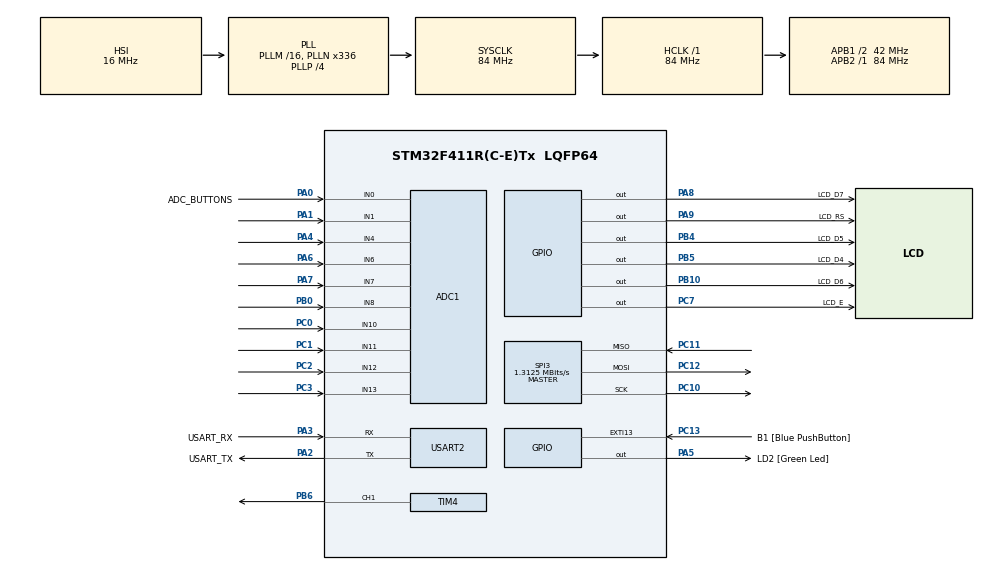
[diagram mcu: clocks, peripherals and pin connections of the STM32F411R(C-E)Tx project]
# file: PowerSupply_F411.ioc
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ADC1.Channel-1\#ChannelRegularConversion=ADC_CHANNEL_0
ADC1.Channel-2\#ChannelRegularConversion=ADC_CHANNEL_1
ADC1.Channel-3\#ChannelRegularConversion=ADC_CHANNEL_4
ADC1.Channel-4\#ChannelRegularConversion=ADC_CHANNEL_6
ADC1.Channel-5\#ChannelRegularConversion=ADC_CHANNEL_7
ADC1.Channel-6\#ChannelRegularConversion=ADC_CHANNEL_8
ADC1.EOCSelection=ADC_EOC_SEQ_CONV
ADC1.NbrOfConversion=6
ADC1.NbrOfConversionFlag=1
ADC1.Rank-1\#ChannelRegularConversion=1
ADC1.Rank-2\#ChannelRegularConversion=2
ADC1.Rank-3\#ChannelRegularConversion=3
ADC1.Rank-4\#ChannelRegularConversion=4
ADC1.Rank-5\#ChannelRegularConversion=5
ADC1.Rank-6\#ChannelRegularConversion=6
ADC1.SamplingTime-1\#ChannelRegularConversion=ADC_SAMPLETIME_28CYCLES
ADC1.SamplingTime-2\#ChannelRegularConversion=ADC_SAMPLETIME_28CYCLES
ADC1.SamplingTime-3\#ChannelRegularConversion=ADC_SAMPLETIME_28CYCLES
ADC1.SamplingTime-4\#ChannelRegularConversion=ADC_SAMPLETIME_28CYCLES
ADC1.SamplingTime-5\#ChannelRegularConversion=ADC_SAMPLETIME_28CYCLES
ADC1.SamplingTime-6\#ChannelRegularConversion=ADC_SAMPLETIME_28CYCLES
ADC1.master=1
Dma.ADC1.0.Direction=DMA_PERIPH_TO_MEMORY
Dma.ADC1.0.FIFOMode=DMA_FIFOMODE_DISABLE
Dma.ADC1.0.Instance=DMA2_Stream0
Dma.ADC1.0.MemDataAlignment=DMA_MDATAALIGN_HALFWORD
Dma.ADC1.0.MemInc=DMA_MINC_ENABLE
Dma.ADC1.0.Mode=DMA_CIRCULAR
Dma.ADC1.0.PeriphDataAlignment=DMA_PDATAALIGN_HALFWORD
Dma.ADC1.0.PeriphInc=DMA_PINC_DISABLE
Dma.ADC1.0.Priority=DMA_PRIORITY_LOW
Dma.Request0=ADC1
Mcu.Family=STM32F4
Mcu.Name=STM32F411R(C-E)Tx
Mcu.Package=LQFP64
NVIC.DMA2_Stream0_IRQn=true\:0\:0\:false\:false\:true\:false\:true\:true
NVIC.PriorityGroup=NVIC_PRIORITYGROUP_0
PA0-WKUP.GPIO_Label=ADC_BUTTONS
PA0-WKUP.Signal=ADCx_IN0
PA1.Signal=ADCx_IN1
PA13.GPIO_Label=TMS
PA13.Mode=Serial_Wire
PA13.Signal=SYS_JTMS-SWDIO
PA14.GPIO_Label=TCK
PA14.Mode=Serial_Wire
PA14.Signal=SYS_JTCK-SWCLK
PA2.GPIO_Label=USART_TX
PA2.Mode=Asynchronous
PA2.Signal=USART2_TX
PA3.GPIO_Label=USART_RX
PA3.Mode=Asynchronous
PA3.Signal=USART2_RX
PA4.Signal=ADCx_IN4
PA5.GPIO_Label=LD2 [Green Led]
PA5.Signal=GPIO_Output
PA6.Signal=ADCx_IN6
PA7.Signal=ADCx_IN7
PA8.GPIO_Label=LCD_D7
PA8.Signal=GPIO_Output
PA9.GPIO_Label=LCD_RS
PA9.Signal=GPIO_Output
PB0.Signal=ADCx_IN8
PB10.GPIO_Label=LCD_D6
PB10.Signal=GPIO_Output
PB3.GPIO_Label=SWO
PB3.Signal=SYS_JTDO-SWO
PB4.GPIO_Label=LCD_D5
PB4.Signal=GPIO_Output
PB5.GPIO_Label=LCD_D4
PB5.Signal=GPIO_Output
PB6.GPIO_Speed=GPIO_SPEED_FREQ_HIGH
PB6.Signal=S_TIM4_CH1
PC0.Signal=ADCx_IN10
PC1.Signal=ADCx_IN11
PC10.Mode=Full_Duplex_Master
PC10.Signal=SPI3_SCK
PC11.Mode=Full_Duplex_Master
PC11.Signal=SPI3_MISO
PC12.Mode=Full_Duplex_Master
PC12.Signal=SPI3_MOSI
PC13-ANTI_TAMP.GPIO_Label=B1 [Blue PushButton]
PC13-ANTI_TAMP.GPIO_ModeDefaultEXTI=GPIO_MODE_IT_FALLING
PC13-ANTI_TAMP.Signal=GPXTI13
PC14-OSC32_IN.Mode=LSE-External-Oscillator
PC14-OSC32_IN.Signal=RCC_OSC32_IN
PC15-OSC32_OUT.Mode=LSE-External-Oscillator
PC15-OSC32_OUT.Signal=RCC_OSC32_OUT
PC2.Signal=ADCx_IN12
PC3.Signal=ADCx_IN13
PC7.GPIO_Label=LCD_E
PC7.Signal=GPIO_Output
PH0\ -\ OSC_IN.Mode=HSE-External-Clock-Source
PH0\ -\ OSC_IN.Signal=RCC_OSC_IN
PH1\ -\ OSC_OUT.Mode=HSE-External-Clock-Source
PH1\ -\ OSC_OUT.Signal=RCC_OSC_OUT
ProjectManager.HeapSize=0x200
ProjectManager.StackSize=0x400
ProjectManager.TargetToolchain=STM32CubeIDE
RCC.48MHZClocksFreq_Value=84000000
RCC.AHBFreq_Value=84000000
RCC.APB1CLKDivider=RCC_HCLK_DIV2
RCC.APB1Freq_Value=42000000
RCC.APB1TimFreq_Value=84000000
RCC.APB2Freq_Value=84000000
RCC.APB2TimFreq_Value=84000000
RCC.CortexFreq_Value=84000000
RCC.FLatency-AdvancedSettings=FLASH_LATENCY_2
RCC.HCLKFreq_Value=84000000
RCC.HSE_VALUE=8000000
RCC.HSI_VALUE=16000000
RCC.PLLN=336
RCC.PLLP=RCC_PLLP_DIV4
RCC.SYSCLKFreq_VALUE=84000000
RCC.SYSCLKSource=RCC_SYSCLKSOURCE_PLLCLK
RCC.VCOOutputFreq_Value=336000000
SH.ADCx_IN0.0=ADC1_IN0,IN0
SH.ADCx_IN1.0=ADC1_IN1,IN1
SH.ADCx_IN10.0=ADC1_IN10,IN10
SH.ADCx_IN11.0=ADC1_IN11,IN11
SH.ADCx_IN12.0=ADC1_IN12,IN12
SH.ADCx_IN13.0=ADC1_IN13,IN13
SH.ADCx_IN4.0=ADC1_IN4,IN4
SH.ADCx_IN6.0=ADC1_IN6,IN6
SH.ADCx_IN7.0=ADC1_IN7,IN7
SH.ADCx_IN8.0=ADC1_IN8,IN8
SH.S_TIM4_CH1.0=TIM4_CH1,PWM Generation1 CH1
SPI3.BaudRatePrescaler=SPI_BAUDRATEPRESCALER_32
SPI3.CalculateBaudRate=1.3125 MBits/s
SPI3.Direction=SPI_DIRECTION_2LINES
SPI3.Mode=SPI_MODE_MASTER
SPI3.VirtualType=VM_MASTER
TIM4.AutoReloadPreload=TIM_AUTORELOAD_PRELOAD_DISABLE
TIM4.Channel-PWM\ Generation1\ CH1=TIM_CHANNEL_1
TIM4.OCFastMode_PWM-PWM\ Generation1\ CH1=TIM_OCFAST_DISABLE
TIM4.Period=999
TIM4.Prescaler=84
TIM4.Pulse-PWM\ Generation1\ CH1=600
TIM4.TIM_MasterOutputTrigger=TIM_TRGO_UPDATE
USART2.VirtualMode=VM_ASYNC
VP_TIM4_VS_ClockSourceINT.Mode=Internal
board=NUCLEO-F411RE

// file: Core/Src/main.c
/* USER CODE BEGIN Header */
/**
  ******************************************************************************
  * @file           : main.c
  * @brief          : Main program body
  ******************************************************************************
  * @attention
  *
  * Copyright (c) 2022 STMicroelectronics.
  * All rights reserved.
  *
  * This software is licensed under terms that can be found in the LICENSE file
  * in the root directory of this software component.
  * If no LICENSE file comes with this software, it is provided AS-IS.
  *
  ******************************************************************************
  */
/* USER CODE END Header */
#include "main.h"

/* USER CODE BEGIN Includes */
#include "lcd_6pin.h"
/* USER CODE END Includes */

 ADC_HandleTypeDef hadc1;
DMA_HandleTypeDef hdma_adc1;

SPI_HandleTypeDef hspi3;

TIM_HandleTypeDef htim4;

UART_HandleTypeDef huart2;

/* USER CODE BEGIN PV */
volatile uint16_t ADC_RawData[6u] = {0u};
float ADC_Voltage[6u];
/* USER CODE END PV */

void SystemClock_Config(void);
static void MX_GPIO_Init(void);
static void MX_USART2_UART_Init(void);
static void MX_ADC1_Init(void);
static void MX_DMA_Init(void);
static void MX_TIM4_Init(void);
static void MX_SPI3_Init(void);

/* USER CODE BEGIN 0 */
volatile uint16_t ADC_RawData[6u] = {0u};
float ADC_Voltage[6u];
/* USER CODE END 0 */

int main(void)
{
  /* USER CODE BEGIN 1 */
  uint16_t pulse_width = 0u;
  /* USER CODE END 1 */

  /* MCU Configuration--------------------------------------------------------*/

  /* Reset of all peripherals, Initializes the Flash interface and the Systick. */
  HAL_Init();

  /* Configure the system clock */
  SystemClock_Config();

  /* USER CODE BEGIN SysInit */
  MX_DMA_Init();
  /* USER CODE END SysInit */

  /* Initialize all configured peripherals */
  MX_GPIO_Init();
  MX_USART2_UART_Init();
  MX_ADC1_Init();
  MX_DMA_Init();
  MX_TIM4_Init();
  MX_SPI3_Init();
  /* USER CODE BEGIN 2 */
  // Start PWM
  HAL_TIM_PWM_Start(&htim4, TIM_CHANNEL_1);
  HAL_TIM_PWM_Start(&htim4, TIM_CHANNEL_3);
  __HAL_TIM_SET_COMPARE(&htim4, TIM_CHANNEL_3, 500u);
  // Init LCD
  LcdInit(LCD_DISP_ON_CURSOR_BLINK);
  LcdPuts("Hello_NucleoF411", 0, 0);

  /* USER CODE END 2 */

  /* Infinite loop */
  while (1)
  {

    /* USER CODE BEGIN 3 */
    HAL_Delay(300u);
    // Convert ADC raw data from last running
    for( uint16_t i = 0u; i < 6u; i++ )
    {
      ADC_Voltage[i] = (float)ADC_RawData[i] * 3.3f / 4096.0f;
    }
    HAL_ADC_Start_DMA(&hadc1, (uint32_t*)&ADC_RawData[0u], 6u);
#if 0
    // Set PWM duty cycle for display backlight
	__HAL_TIM_SET_COMPARE(&htim4, TIM_CHANNEL_1, pulse_width);
	if(988 > pulse_width)
	{
	  pulse_width += 10u;
	}
	else
	{
	  pulse_width = 0u;
	}
#endif
  }
  /* USER CODE END 3 */
}

void SystemClock_Config(void)
{
  RCC_OscInitTypeDef RCC_OscInitStruct = {0};
  RCC_ClkInitTypeDef RCC_ClkInitStruct = {0};

  /** Configure the main internal regulator output voltage
  */
  __HAL_RCC_PWR_CLK_ENABLE();
  __HAL_PWR_VOLTAGESCALING_CONFIG(PWR_REGULATOR_VOLTAGE_SCALE1);

  /** Initializes the RCC Oscillators according to the specified parameters
  * in the RCC_OscInitTypeDef structure.
  */
  RCC_OscInitStruct.OscillatorType = RCC_OSCILLATORTYPE_HSI;
  RCC_OscInitStruct.HSIState = RCC_HSI_ON;
  RCC_OscInitStruct.HSICalibrationValue = RCC_HSICALIBRATION_DEFAULT;
  RCC_OscInitStruct.PLL.PLLState = RCC_PLL_ON;
  RCC_OscInitStruct.PLL.PLLSource = RCC_PLLSOURCE_HSI;
  RCC_OscInitStruct.PLL.PLLM = 16;
  RCC_OscInitStruct.PLL.PLLN = 336;
  RCC_OscInitStruct.PLL.PLLP = RCC_PLLP_DIV4;
  RCC_OscInitStruct.PLL.PLLQ = 4;
  if (HAL_RCC_OscConfig(&RCC_OscInitStruct) != HAL_OK)
  {
    Error_Handler();
  }

  /** Initializes the CPU, AHB and APB buses clocks
  */
  RCC_ClkInitStruct.ClockType = RCC_CLOCKTYPE_HCLK|RCC_CLOCKTYPE_SYSCLK
                              |RCC_CLOCKTYPE_PCLK1|RCC_CLOCKTYPE_PCLK2;
  RCC_ClkInitStruct.SYSCLKSource = RCC_SYSCLKSOURCE_PLLCLK;
  RCC_ClkInitStruct.AHBCLKDivider = RCC_SYSCLK_DIV1;
  RCC_ClkInitStruct.APB1CLKDivider = RCC_HCLK_DIV2;
  RCC_ClkInitStruct.APB2CLKDivider = RCC_HCLK_DIV1;

  if (HAL_RCC_ClockConfig(&RCC_ClkInitStruct, FLASH_LATENCY_2) != HAL_OK)
  {
    Error_Handler();
  }
}

static void MX_ADC1_Init(void)
{

  ADC_ChannelConfTypeDef sConfig = {0};

  /** Configure the global features of the ADC (Clock, Resolution, Data Alignment and number of conversion)
  */
  hadc1.Instance = ADC1;
  hadc1.Init.ClockPrescaler = ADC_CLOCK_SYNC_PCLK_DIV4;
  hadc1.Init.Resolution = ADC_RESOLUTION_12B;
  hadc1.Init.ScanConvMode = ENABLE;
  hadc1.Init.ContinuousConvMode = DISABLE;
  hadc1.Init.DiscontinuousConvMode = DISABLE;
  hadc1.Init.ExternalTrigConvEdge = ADC_EXTERNALTRIGCONVEDGE_NONE;
  hadc1.Init.ExternalTrigConv = ADC_SOFTWARE_START;
  hadc1.Init.DataAlign = ADC_DATAALIGN_RIGHT;
  hadc1.Init.NbrOfConversion = 6;
  hadc1.Init.DMAContinuousRequests = DISABLE;
  hadc1.Init.EOCSelection = ADC_EOC_SEQ_CONV;
  if (HAL_ADC_Init(&hadc1) != HAL_OK)
  {
    Error_Handler();
  }

  /** Configure for the selected ADC regular channel its corresponding rank in the sequencer and its sample time.
  */
  sConfig.Channel = ADC_CHANNEL_0;
  sConfig.Rank = 1;
  sConfig.SamplingTime = ADC_SAMPLETIME_28CYCLES;
  if (HAL_ADC_ConfigChannel(&hadc1, &sConfig) != HAL_OK)
  {
    Error_Handler();
  }

  /** Configure for the selected ADC regular channel its corresponding rank in the sequencer and its sample time.
  */
  sConfig.Channel = ADC_CHANNEL_1;
  sConfig.Rank = 2;
  if (HAL_ADC_ConfigChannel(&hadc1, &sConfig) != HAL_OK)
  {
    Error_Handler();
  }

  /** Configure for the selected ADC regular channel its corresponding rank in the sequencer and its sample time.
  */
  sConfig.Channel = ADC_CHANNEL_4;
  sConfig.Rank = 3;
  if (HAL_ADC_ConfigChannel(&hadc1, &sConfig) != HAL_OK)
  {
    Error_Handler();
  }

  /** Configure for the selected ADC regular channel its corresponding rank in the sequencer and its sample time.
  */
  sConfig.Channel = ADC_CHANNEL_6;
  sConfig.Rank = 4;
  if (HAL_ADC_ConfigChannel(&hadc1, &sConfig) != HAL_OK)
  {
    Error_Handler();
  }

  /** Configure for the selected ADC regular channel its corresponding rank in the sequencer and its sample time.
  */
  sConfig.Channel = ADC_CHANNEL_7;
  sConfig.Rank = 5;
  if (HAL_ADC_ConfigChannel(&hadc1, &sConfig) != HAL_OK)
  {
    Error_Handler();
  }

  /** Configure for the selected ADC regular channel its corresponding rank in the sequencer and its sample time.
  */
  sConfig.Channel = ADC_CHANNEL_8;
  sConfig.Rank = 6;
  if (HAL_ADC_ConfigChannel(&hadc1, &sConfig) != HAL_OK)
  {
    Error_Handler();
  }

}

static void MX_SPI3_Init(void)
{

  /* SPI3 parameter configuration*/
  hspi3.Instance = SPI3;
  hspi3.Init.Mode = SPI_MODE_MASTER;
  hspi3.Init.Direction = SPI_DIRECTION_2LINES;
  hspi3.Init.DataSize = SPI_DATASIZE_8BIT;
  hspi3.Init.CLKPolarity = SPI_POLARITY_LOW;
  hspi3.Init.CLKPhase = SPI_PHASE_1EDGE;
  hspi3.Init.NSS = SPI_NSS_SOFT;
  hspi3.Init.BaudRatePrescaler = SPI_BAUDRATEPRESCALER_32;
  hspi3.Init.FirstBit = SPI_FIRSTBIT_MSB;
  hspi3.Init.TIMode = SPI_TIMODE_DISABLE;
  hspi3.Init.CRCCalculation = SPI_CRCCALCULATION_DISABLE;
  hspi3.Init.CRCPolynomial = 10;
  if (HAL_SPI_Init(&hspi3) != HAL_OK)
  {
    Error_Handler();
  }

}

static void MX_TIM4_Init(void)
{

  TIM_ClockConfigTypeDef sClockSourceConfig = {0};
  TIM_MasterConfigTypeDef sMasterConfig = {0};
  TIM_OC_InitTypeDef sConfigOC = {0};

  htim4.Instance = TIM4;
  htim4.Init.Prescaler = 84;
  htim4.Init.CounterMode = TIM_COUNTERMODE_UP;
  htim4.Init.Period = 999;
  htim4.Init.ClockDivision = TIM_CLOCKDIVISION_DIV1;
  htim4.Init.AutoReloadPreload = TIM_AUTORELOAD_PRELOAD_DISABLE;
  if (HAL_TIM_Base_Init(&htim4) != HAL_OK)
  {
    Error_Handler();
  }
  sClockSourceConfig.ClockSource = TIM_CLOCKSOURCE_INTERNAL;
  if (HAL_TIM_ConfigClockSource(&htim4, &sClockSourceConfig) != HAL_OK)
  {
    Error_Handler();
  }
  if (HAL_TIM_PWM_Init(&htim4) != HAL_OK)
  {
    Error_Handler();
  }
  sMasterConfig.MasterOutputTrigger = TIM_TRGO_UPDATE;
  sMasterConfig.MasterSlaveMode = TIM_MASTERSLAVEMODE_DISABLE;
  if (HAL_TIMEx_MasterConfigSynchronization(&htim4, &sMasterConfig) != HAL_OK)
  {
    Error_Handler();
  }
  sConfigOC.OCMode = TIM_OCMODE_PWM1;
  sConfigOC.Pulse = 600;
  sConfigOC.OCPolarity = TIM_OCPOLARITY_HIGH;
  sConfigOC.OCFastMode = TIM_OCFAST_DISABLE;
  if (HAL_TIM_PWM_ConfigChannel(&htim4, &sConfigOC, TIM_CHANNEL_1) != HAL_OK)
  {
    Error_Handler();
  }
  HAL_TIM_MspPostInit(&htim4);

}

static void MX_USART2_UART_Init(void)
{

  huart2.Instance = USART2;
  huart2.Init.BaudRate = 115200;
  huart2.Init.WordLength = UART_WORDLENGTH_8B;
  huart2.Init.StopBits = UART_STOPBITS_1;
  huart2.Init.Parity = UART_PARITY_NONE;
  huart2.Init.Mode = UART_MODE_TX_RX;
  huart2.Init.HwFlowCtl = UART_HWCONTROL_NONE;
  huart2.Init.OverSampling = UART_OVERSAMPLING_16;
  if (HAL_UART_Init(&huart2) != HAL_OK)
  {
    Error_Handler();
  }

}

static void MX_DMA_Init(void)
{

  /* DMA controller clock enable */
  __HAL_RCC_DMA2_CLK_ENABLE();

  /* DMA interrupt init */
  /* DMA2_Stream0_IRQn interrupt configuration */
  HAL_NVIC_SetPriority(DMA2_Stream0_IRQn, 0, 0);
  HAL_NVIC_EnableIRQ(DMA2_Stream0_IRQn);

}

static void MX_GPIO_Init(void)
{
  GPIO_InitTypeDef GPIO_InitStruct = {0};

  /* GPIO Ports Clock Enable */
  __HAL_RCC_GPIOC_CLK_ENABLE();
  __HAL_RCC_GPIOH_CLK_ENABLE();
  __HAL_RCC_GPIOA_CLK_ENABLE();
  __HAL_RCC_GPIOB_CLK_ENABLE();

  /*Configure GPIO pin Output Level */
  HAL_GPIO_WritePin(GPIOA, LD2_Pin|LCD_D7_Pin|LCD_RS_Pin, GPIO_PIN_RESET);

  /*Configure GPIO pin Output Level */
  HAL_GPIO_WritePin(GPIOB, LCD_D6_Pin|LCD_D5_Pin|LCD_D4_Pin, GPIO_PIN_RESET);

  /*Configure GPIO pin Output Level */
  HAL_GPIO_WritePin(LCD_E_GPIO_Port, LCD_E_Pin, GPIO_PIN_RESET);

  /*Configure GPIO pin : B1_Pin */
  GPIO_InitStruct.Pin = B1_Pin;
  GPIO_InitStruct.Mode = GPIO_MODE_IT_FALLING;
  GPIO_InitStruct.Pull = GPIO_NOPULL;
  HAL_GPIO_Init(B1_GPIO_Port, &GPIO_InitStruct);

  /*Configure GPIO pins : LD2_Pin LCD_D7_Pin LCD_RS_Pin */
  GPIO_InitStruct.Pin = LD2_Pin|LCD_D7_Pin|LCD_RS_Pin;
  GPIO_InitStruct.Mode = GPIO_MODE_OUTPUT_PP;
  GPIO_InitStruct.Pull = GPIO_NOPULL;
  GPIO_InitStruct.Speed = GPIO_SPEED_FREQ_LOW;
  HAL_GPIO_Init(GPIOA, &GPIO_InitStruct);

  /*Configure GPIO pins : LCD_D6_Pin LCD_D5_Pin LCD_D4_Pin */
  GPIO_InitStruct.Pin = LCD_D6_Pin|LCD_D5_Pin|LCD_D4_Pin;
  GPIO_InitStruct.Mode = GPIO_MODE_OUTPUT_PP;
  GPIO_InitStruct.Pull = GPIO_NOPULL;
  GPIO_InitStruct.Speed = GPIO_SPEED_FREQ_LOW;
  HAL_GPIO_Init(GPIOB, &GPIO_InitStruct);

  /*Configure GPIO pin : LCD_E_Pin */
  GPIO_InitStruct.Pin = LCD_E_Pin;
  GPIO_InitStruct.Mode = GPIO_MODE_OUTPUT_PP;
  GPIO_InitStruct.Pull = GPIO_NOPULL;
  GPIO_InitStruct.Speed = GPIO_SPEED_FREQ_LOW;
  HAL_GPIO_Init(LCD_E_GPIO_Port, &GPIO_InitStruct);

}

void Error_Handler(void)
{
  __disable_irq();
  while (1)
  {
  }
}
